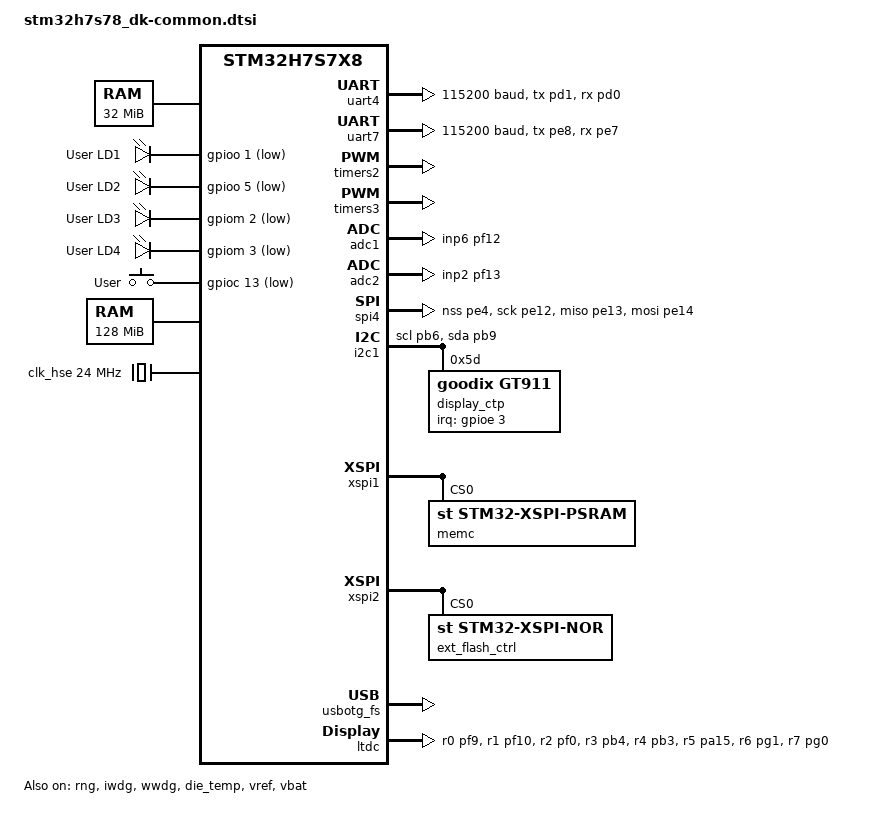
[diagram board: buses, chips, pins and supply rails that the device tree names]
/*
 * Copyright (c) 2024-2025 STMicroelectronics
 *
 * SPDX-License-Identifier: Apache-2.0
 */

/dts-v1/;
#include <st/h7rs/stm32h7s7X8.dtsi>
#include <st/h7/stm32h7s7l8hxh-pinctrl.dtsi>
#include "arduino_r3_connector.dtsi"
#include "zephyr/dt-bindings/display/panel.h"
#include <zephyr/dt-bindings/input/input-event-codes.h>

/ {
	chosen {
		zephyr,console = &uart4;
		zephyr,shell-uart = &uart4;
		zephyr,sram = &sram0;
		zephyr,display = &ltdc;
		zephyr,touch = &display_ctp;
		zephyr,canbus = &fdcan1;
	};

	psram: memory@90000000 {
		compatible = "zephyr,memory-region";
		reg = <0x90000000 DT_SIZE_M(32)>;
		zephyr,memory-region = "PSRAM";
		zephyr,memory-attr = <DT_MEM_ARM_MPU_RAM>;
	};

	leds {
		compatible = "gpio-leds";

		green_led: led_1 {
			gpios = <&gpioo 1 GPIO_ACTIVE_LOW>;
			label = "User LD1";
		};

		orange_led: led_2 {
			gpios = <&gpioo 5 GPIO_ACTIVE_LOW>;
			label = "User LD2";
		};

		red_led: led_3 {
			gpios = <&gpiom 2 GPIO_ACTIVE_LOW>;
			label = "User LD3";
		};

		blue_led: led_4 {
			gpios = <&gpiom 3 GPIO_ACTIVE_LOW>;
			label = "User LD4";
		};
	};

	gpio_keys {
		compatible = "gpio-keys";

		user_button: button {
			label = "User";
			gpios = <&gpioc 13 GPIO_ACTIVE_LOW>;
			zephyr,code = <INPUT_KEY_0>;
		};
	};

	aliases {
		led0 = &blue_led;
		sw0 = &user_button;
		watchdog0 = &iwdg;
		die-temp0 = &die_temp;
		volt-sensor0 = &vref;
		volt-sensor1 = &vbat;
		spi-flash0 = &mx66uw1g45;
	};

	ext_flash_mem: memory@70000000 {
		compatible = "zephyr,memory-region";
		reg = <0x70000000 DT_SIZE_M(128)>;
		zephyr,memory-region = "EXTMEM";
		zephyr,memory-attr = <DT_MEM_ARM(ATTR_MPU_FLASH)>;
	};
};

&clk_hsi48 {
	status = "okay";
};

&clk_lse {
	status = "okay";
};

&clk_hse {
	clock-frequency = <DT_FREQ_M(24)>;
	hse-bypass; /* X3 is a 24MHz oscillator on PH0 */
	status = "okay";
};

&pll {
	div-m = <12>;
	mul-n = <250>;
	div-p = <2>;
	div-q = <2>;
	div-r = <2>;
	div-s = <2>;
	div-t = <2>;
	clocks = <&clk_hse>;
	status = "okay";
};

&pll3 {
	div-m = <12>;
	mul-n = <25>;
	div-r = <2>;
	clocks = <&clk_hse>;
	status = "okay";
};

&rcc {
	clocks = <&pll>;
	clock-frequency = <DT_FREQ_M(250)>;
	dcpre = <1>;
	hpre = <1>;
	ppre1 = <2>;
	ppre2 = <2>;
	ppre4 = <2>;
	ppre5 = <2>;
};

&pwr {
	power-supply = "smps-direct";
};

&uart4 {
	pinctrl-0 = <&uart4_tx_pd1 &uart4_rx_pd0>;
	pinctrl-names = "default";
	current-speed = <115200>;
	status = "okay";
};

&uart7 {
	pinctrl-0 = <&uart7_tx_pe8 &uart7_rx_pe7>;
	pinctrl-names = "default";
	current-speed = <115200>;
	status = "okay";
};

&timers2 {
	st,prescaler = <10000>;
	status = "okay";

	pwm2: pwm {
		status = "okay";
		pinctrl-0 = <&tim2_ch4_pa3>;
		pinctrl-names = "default";
	};
};

&timers3 {
	st,prescaler = <10000>;
	status = "okay";

	pwm3: pwm {
		status = "okay";
		pinctrl-0 = <&tim3_ch2_pb5>;
		pinctrl-names = "default";
	};
};

&rng {
	status = "okay";
};

&iwdg {
	status = "okay";
};

&wwdg {
	status = "okay";
};

&adc1 {
	pinctrl-0 = <&adc1_inp6_pf12>; /* Arduino A3 */
	pinctrl-names = "default";
	st,adc-clock-source = "SYNC";
	st,adc-prescaler = <4>;
	status = "okay";
};

&adc2 {
	pinctrl-0 = <&adc2_inp2_pf13>; /* Arduino A4 */
	pinctrl-names = "default";
	st,adc-clock-source = "SYNC";
	st,adc-prescaler = <4>;
	status = "okay";
};

&spi4 {
	pinctrl-0 = <&spi4_nss_pe4 &spi4_sck_pe12
		     &spi4_miso_pe13 &spi4_mosi_pe14>;
	pinctrl-names = "default";
	status = "okay";
};

&i2c1 {
	pinctrl-0 = <&i2c1_scl_pb6 &i2c1_sda_pb9>;
	pinctrl-names = "default";
	/*
	 * Make sure FDCAN and i2c1 are not enabled at the same time
	 * because they share the pb9 pin
	 * reference: DS14359 Rev 4 page 134
	 */
	status = "okay";

	display_ctp: gt911@5d {
		compatible = "goodix,gt911";
		reg = <0x5d>;
		irq-gpios = <&gpioe 3 (GPIO_ACTIVE_HIGH | GPIO_PULL_DOWN)>;
		status = "okay";
	};
};

&fdcan1 {
	pinctrl-0 = <&fdcan1_rx_pb8 &fdcan1_tx_pb9>;
	pinctrl-names = "default";
	/*
	 * fdcan1 is disabled by default in favor of i2c1 due to pb9 pin conflict
	 * reference: DS14359 Rev 4 page 134
	 */
	status = "disabled";
};

&xspi1 {
	pinctrl-0 = <&xspim_p1_ncs1_po0 &xspim_p1_dqs0_po2
		     &xspim_p1_dqs1_po3 &xspim_p1_clk_po4
		     &xspim_p1_io0_pp0 &xspim_p1_io1_pp1 &xspim_p1_io2_pp2
		     &xspim_p1_io3_pp3 &xspim_p1_io4_pp4 &xspim_p1_io5_pp5
		     &xspim_p1_io6_pp6 &xspim_p1_io7_pp7 &xspim_p1_io8_pp8
		     &xspim_p1_io9_pp9 &xspim_p1_io10_pp10 &xspim_p1_io11_pp11
		     &xspim_p1_io12_pp12 &xspim_p1_io13_pp13 &xspim_p1_io14_pp14
		     &xspim_p1_io15_pp15>;

	pinctrl-names = "default";
	status = "okay";

	memc: aps256xxn-obr@0 {
		compatible = "st,stm32-xspi-psram";
		reg = <0>;
		size = <DT_SIZE_M(256)>; /* 256 Mbits */
		max-frequency = <DT_FREQ_M(200)>;
		fixed-latency;
		io-x16-mode;
		read-latency = <4>;
		write-latency = <1>;
		burst-length = <0>;
		st,csbound = <11>;
		status = "okay";
	};
};

&xspi2 {
	pinctrl-0 = <&xspim_p2_clk_pn6 &xspim_p2_ncs1_pn1
		     &xspim_p2_io0_pn2 &xspim_p2_io1_pn3
		     &xspim_p2_io2_pn4 &xspim_p2_io3_pn5
		     &xspim_p2_io4_pn8 &xspim_p2_io5_pn9
		     &xspim_p2_io6_pn10 &xspim_p2_io7_pn11
		     &xspim_p2_dqs0_pn0>;
	pinctrl-names = "default";

	status = "okay";

	ext_flash_ctrl: xspi-nor-flash@0 {
		compatible = "st,stm32-xspi-nor";
		reg = <0>;
		size = <DT_SIZE_M(1024)>; /* 1 Gbits */
		ospi-max-frequency = <DT_FREQ_M(50)>;
		spi-bus-width = <XSPI_OCTO_MODE>;
		data-rate = <XSPI_DTR_TRANSFER>;
		four-byte-opcodes;
		status = "okay";

		#address-cells = <1>;
		#size-cells = <1>;
		ranges = <0x0 0x70000000 DT_SIZE_M(128)>;

		ext_flash: mx66uw1g45: ext-flash@0 {
			compatible = "soc-nv-flash";
			reg = <0x0 DT_SIZE_M(128)>;
			write-block-size = <1>;
			erase-block-size = <DT_SIZE_K(4)>;

			partitions {
				compatible = "fixed-partitions";
				#address-cells = <1>;
				#size-cells = <1>;
			};
		};
	};
};

&die_temp {
	status = "okay";
};

&vref {
	status = "okay";
};

&vbat {
	status = "okay";
};

usb2: &usbotg_fs {
	pinctrl-0 = <&usb_otg_fs_dm_pm12 &usb_otg_fs_dp_pm11>;
	pinctrl-names = "default";
	status = "okay";
};

zephyr_udc0: &usb2 {};

&ltdc {
	pinctrl-0 = <&ltdc_r0_pf9 &ltdc_r1_pf10 &ltdc_r2_pf0 &ltdc_r3_pb4
		     &ltdc_r4_pb3 &ltdc_r5_pa15 &ltdc_r6_pg1 &ltdc_r7_pg0
		     &ltdc_g0_pf7 &ltdc_g1_pf15 &ltdc_g2_pa1 &ltdc_g3_pa0
		     &ltdc_g4_pb13 &ltdc_g5_pb12 &ltdc_g6_pb11 &ltdc_g7_pb15
		     &ltdc_b0_pf11 &ltdc_b1_pg14 &ltdc_b2_pa12 &ltdc_b3_pa11
		     &ltdc_b4_pa10 &ltdc_b5_pa9 &ltdc_b6_pa8 &ltdc_b7_pa6
		     &ltdc_de_pb14 &ltdc_clk_pg13 &ltdc_hsync_pg2 &ltdc_vsync_pe11>;
	pinctrl-names = "default";
	disp-on-gpios = <&gpioe 15 GPIO_ACTIVE_HIGH>;
	bl-ctrl-gpios = <&gpiog 15 GPIO_ACTIVE_HIGH>;

	status = "okay";

	width = <800>;
	height = <480>;
	pixel-format = <PANEL_PIXEL_FORMAT_RGB_565>;

	display-timings {
		compatible = "zephyr,panel-timing";
		de-active = <0>;
		pixelclk-active = <0>;
		hsync-active = <0>;
		vsync-active = <0>;
		hsync-len = <4>;
		vsync-len = <4>;
		hback-porch = <8>;
		vback-porch = <8>;
		hfront-porch = <8>;
		vfront-porch = <8>;
	};

	def-back-color-red = <0xff>;
	def-back-color-green = <0xff>;
	def-back-color-blue = <0xff>;
};
